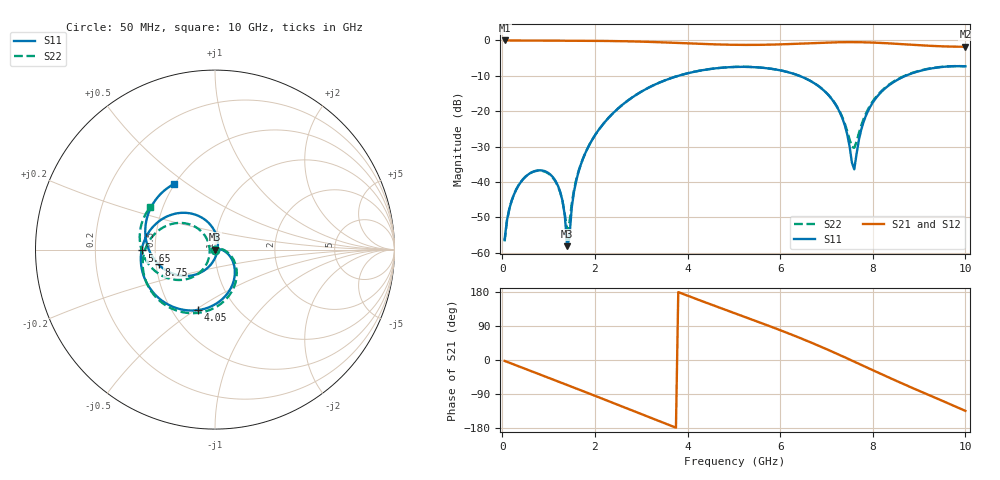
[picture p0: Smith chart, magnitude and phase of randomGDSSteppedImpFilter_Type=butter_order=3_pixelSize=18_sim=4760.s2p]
! freq	dB(S11)	phase(S11)	dB(S12)	phase(S12)
!  dB(S21)	phase(S21)	dB(S22)	phase(S22)
!S-par simulation data
#  GHz  S  DB  R 50
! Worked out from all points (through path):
!   200 points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, 50 MHz to 10 GHz, reference 50 ohm
!   highest |S21| = 0.00 dB at 50 MHz (marker M1); lowest = -1.8 dB at 10 GHz (marker M2)
!   group delay of S21, straight-line fit = 136 ps
!   lowest |S11| = -58.1 dB at 1.4 GHz (marker M3), VSWR 1.00, Z = 49.9 + j0.0475 ohm
!   |S11| at or under -10 dB: start of sweep to 3.799 GHz; 6.415 GHz to 8.707 GHz (2.292 GHz wide, 30.3 % of centre)
!   |S22| runs from -56.8 to -7.2 dB; largest |S21 - S12| = 0
!   S11 on the Smith chart (normalised r, x): 50 MHz: 1.00, -0.00; 4.05 GHz: 0.67, -0.51; 5.65 GHz: 0.42, -0.00; 8.75 GHz: 0.52, -0.10; 10 GHz: 0.50, +0.44
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0.05  -56.24 -85.0  -0.00 -2.4  -0.00 -2.4  -56.76 -76.9
0.15  -47.66 -92.3  -0.01 -7.1  -0.01 -7.1  -47.75 -92.2
0.3  -42.17 -102.5  -0.02 -14.1  -0.02 -14.1  -42.11 -102.6
0.85  -36.72 -131.5  -0.05 -40.0  -0.05 -40.0  -36.83 -133.0
1.25  -42.73 -152.8  -0.07 -58.8  -0.07 -58.8  -42.90 -161.1
1.35  -49.47 -161.7  -0.07 -63.5  -0.07 -63.5  -49.10 177.0
1.4  -58.13 157.4  -0.07 -65.9  -0.07 -65.9  -53.60 134.6
1.45  -55.63 46.6  -0.08 -68.2  -0.08 -68.2  -51.46 71.0
1.55  -42.62 19.2  -0.08 -73.0  -0.08 -73.0  -42.09 32.5
1.75  -33.17 7.3  -0.09 -82.5  -0.09 -82.5  -33.09 13.9
2.4  -20.44 -25.4  -0.17 -113.6  -0.17 -113.6  -20.44 -20.9
3.4  -11.87 -74.4  -0.51 -161.9  -0.51 -161.9  -11.85 -69.4
4.05  -9.13 -105.5  -0.85 167.4  -0.85 167.4  -9.11 -99.5
5.05  -7.48 -151.6  -1.24 122.0  -1.24 122.0  -7.46 -143.4
5.65  -7.76 -179.3  -1.22 95.0  -1.22 95.0  -7.74 -169.1
6.7  -11.79 127.4  -0.75 44.4  -0.75 44.4  -11.77 145.0
7.3  -20.64 88.5  -0.50 12.4  -0.50 12.4  -20.44 125.9
7.6  -36.41 -25.7  -0.48 -4.3  -0.48 -4.3  -30.34 -166.5
7.85  -21.31 -105.4  -0.54 -18.4  -0.54 -18.4  -20.69 -120.5
8.35  -12.66 -141.0  -0.82 -46.3  -0.82 -46.3  -12.49 -135.4
8.75  -9.77 -165.2  -1.14 -68.1  -1.14 -68.1  -9.66 -153.8
10  -7.31 122.1  -1.78 -134.3  -1.78 -134.3  -7.30 146.9
